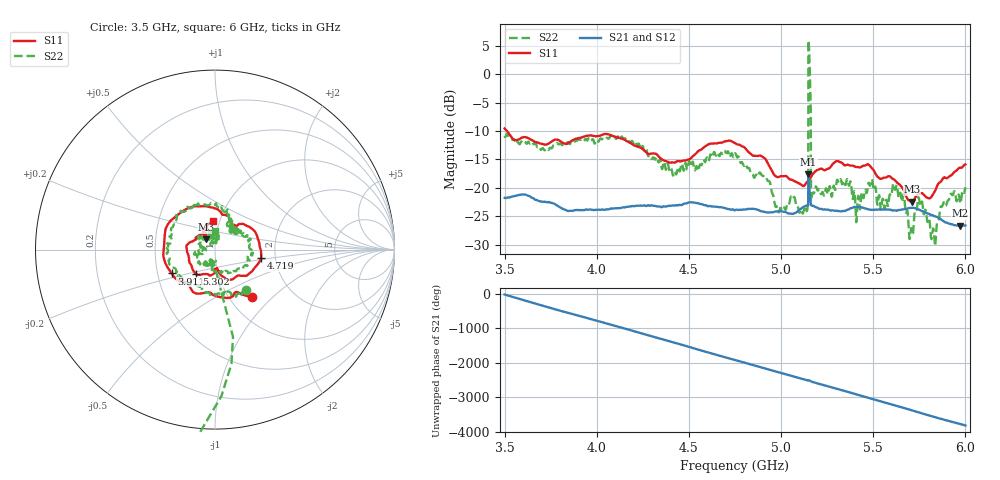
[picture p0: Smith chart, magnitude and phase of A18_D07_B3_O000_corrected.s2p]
! Created with skrf 1.9.0 (http://scikit-rf.org).
# Hz S RI R 50.0
!freq ReS11 ImS11 ReS21 ImS21 ReS12 ImS12 ReS22 ImS22
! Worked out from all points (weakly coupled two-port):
!   1601 points, 3.5 GHz to 6 GHz, reference 50 ohm
!   highest |S21| = -17.63 dB at 5.148 GHz (marker M1); lowest = -26.7 dB at 5.972 GHz (marker M2)
!   lowest |S11| = -22.4 dB at 5.711 GHz (marker M3), VSWR 1.16, Z = 45 + j5.22 ohm
!   |S11| at or under -10 dB: 3.513 GHz to end of sweep
!   |S22| runs from -30.3 to 6.0 dB; largest |S21 - S12| = 0.001
!   S11 on the Smith chart (normalised r, x): 3.5 GHz: 1.27, -0.75; 3.911 GHz: 0.59, -0.17; 4.719 GHz: 1.68, -0.17; 5.302 GHz: 0.78, -0.22; 6 GHz: 0.93, +0.31
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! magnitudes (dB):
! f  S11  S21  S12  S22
! 3.5 GHz  -9.5  -21.8  -21.8  -10.9
! 3.911 GHz  -11.2  -23.9  -23.9  -11.5
! 3.917 GHz  -11.1  -23.9  -23.9  -11.5
! 4.334 GHz  -14.4  -23.3  -23.2  -15.5
! 4.719 GHz  -11.7  -23.7  -23.8  -14.4
! 4.75 GHz  -12.1  -23.9  -23.9  -13.9
! 4.98 GHz  -18.1  -24.1  -24.1  -23.7
! 5.111 GHz  -19.5  -23.6  -23.6  -23.9
! 5.134 GHz  -19.2  -23.2  -23.1  -23.5
! 5.148 GHz  -18.7  -17.6  -17.7  6.0
! 5.161 GHz  -18.2  -22.6  -22.6  -6.1
! 5.167 GHz  -17.8  -23.1  -23.1  -21.3
! 5.175 GHz  -17.4  -23.2  -23.2  -21.0
! 5.302 GHz  -15.3  -24.0  -24.0  -18.9
! 5.584 GHz  -17.9  -23.8  -23.8  -22.3
! 5.62 GHz  -18.7  -24.0  -24.0  -20.2
! 5.711 GHz  -22.4  -23.5  -23.5  -27.7
! 5.752 GHz  -21.0  -23.9  -23.9  -22.5
! 5.827 GHz  -21.0  -24.9  -24.9  -27.2
! 5.875 GHz  -18.5  -25.7  -25.7  -23.2
! 5.972 GHz  -16.4  -26.7  -26.6  -22.7
! 6 GHz  -15.9  -26.6  -26.6  -19.9
